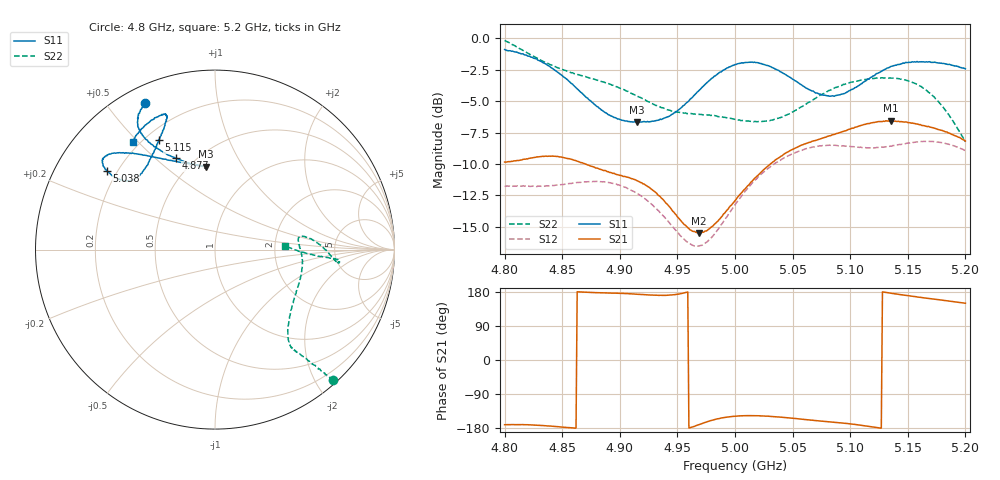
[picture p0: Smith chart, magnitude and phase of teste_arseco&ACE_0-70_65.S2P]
! Network Analyzer HP8722D
! Hewlett-Packard
! Data name: Linha & Wilkinson
! Saver's name: Rodrigo Anjos
! Comments: Teste da utilização de aquisição
! continua pelo VNA HP8722D
! Time and date: 8/5/2025 13:18
!  Frequency  S11  S21  S12  S22
# HZ  S  MA R 50
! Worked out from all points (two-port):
!   401 points, 4.8 GHz to 5.2 GHz, reference 50 ohm
!   highest |S21| = -6.55 dB at 5.135 GHz (marker M1); lowest = -15.5 dB at 4.969 GHz (marker M2)
!   |S21| within 3 dB of the highest: 4.821 GHz to 4.854 GHz (32.92 MHz wide, 0.681 % of centre); 5.037 GHz to end of sweep
!   lowest |S11| = -6.7 dB at 4.915 GHz (marker M3), VSWR 2.73, Z = 29.9 + j35.2 ohm
!   |S11| at or under -10 dB: nowhere
!   |S22| runs from -8.2 to -0.2 dB; largest |S21 - S12| = 0.83
!   S11 on the Smith chart (normalised r, x): 4.8 GHz: 0.07, +0.63; 4.877 GHz: 0.40, +0.59; 5.038 GHz: 0.16, +0.32; 5.115 GHz: 0.25, +0.58; 5.2 GHz: 0.17, +0.48
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4.8e9  0.9033 115.4  0.3219 -170.8  0.2579 -86.2  0.9814 -47.8
4.834e9  0.7978 122.2  0.339 -173.1  0.2582 -77.2  0.8079 -50.0
4.852e9  0.6994 121.4  0.3346 -177.5  0.2626 -71.2  0.7466 -51.0
4.867e9  0.6068 117.4  0.3202 179.2  0.2679 -67.7  0.7111 -51.7
4.877e9  0.5521 112.9  0.3081 178.0  0.2696 -66.8  0.6899 -52.1
4.898e9  0.478 101.7  0.2868 176.1  0.2614 -67.1  0.6403 -50.4
4.915e9  0.4643 96.0  0.2713 173.7  0.2418 -68.9  0.589 -46.2
4.934e9  0.4734 99.5  0.2366 170.5  0.2052 -69.9  0.5346 -36.9
4.956e9  0.5425 114.7  0.1814 177.1  0.1584 -60.9  0.5039 -22.4
4.969e9  0.6218 123.8  0.168 -170.3  0.1493 -46.7  0.4985 -14.8
4.981e9  0.6988 130.1  0.1795 -158.4  0.164 -33.2  0.4915 -8.5
5e9  0.7867 137.0  0.2262 -148.4  0.2179 -21.5  0.4761 -0.2
5.018e9  0.801 141.4  0.2797 -147.0  0.2744 -18.8  0.4671 5.8
5.038e9  0.7454 144.1  0.3347 -150.4  0.3257 -19.1  0.4822 8.8
5.067e9  0.6172 141.7  0.3898 -158.8  0.3694 -21.3  0.5669 4.1
5.088e9  0.5929 132.8  0.4181 -164.8  0.3749 -24.5  0.6384 -2.3
5.115e9  0.6874 117.2  0.4579 -174.5  0.3668 -27.3  0.689 -6.0
5.134e9  0.7661 110.7  0.468 176.9  0.3718 -29.4  0.6953 -5.4
5.135e9  0.7727 110.7  0.4705 176.5  0.3728 -29.4  0.6964 -5.3
5.162e9  0.8075 112.5  0.4505 164.8  0.3889 -36.2  0.6415 -4.2
5.179e9  0.7971 118.3  0.431 158.2  0.385 -41.6  0.5439 -3.0
5.2e9  0.7568 127.3  0.3902 149.8  0.3578 -47.3  0.3879 3.2
